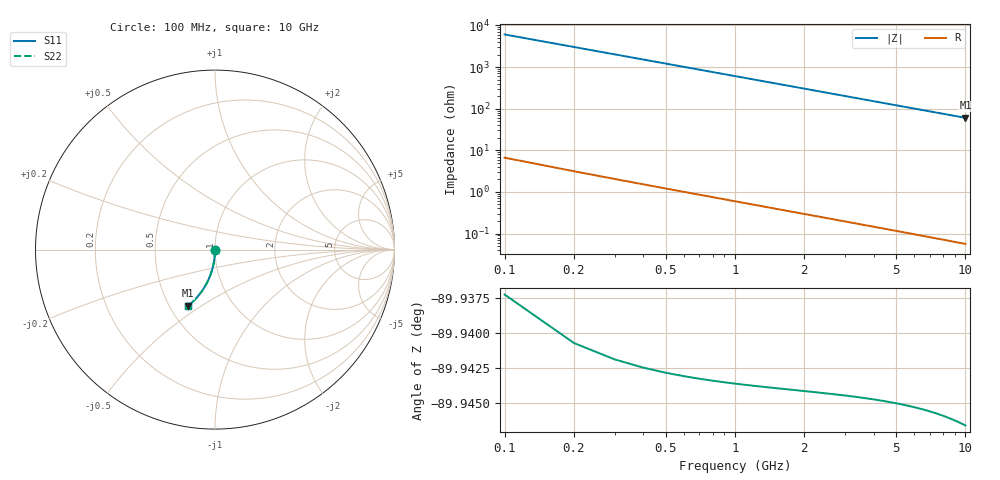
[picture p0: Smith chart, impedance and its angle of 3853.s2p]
# Hz S RI R 50.00
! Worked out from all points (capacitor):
!   100 points, 100 MHz to 10 GHz, reference 50 ohm
!   read as one part in shunt: C = 263 fF near 100 MHz
!   lowest |Z| = 60.4 ohm at 10 GHz (marker M1)
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1e8  8.84e-05 -0.00368  0.9999 -0.00457  0.9999 -0.00457  8.84e-05 -0.00368
2e8  3.47e-05 -0.00737  0.9998 -0.00913  0.9998 -0.00913  3.47e-05 -0.00737
3e8  -5.3e-05 -0.0111  0.9997 -0.0137  0.9997 -0.0137  -5.3e-05 -0.0111
4e8  -0.000174 -0.0147  0.9996 -0.0183  0.9996 -0.0183  -0.000174 -0.0147
5e8  -0.000329 -0.0184  0.9994 -0.0228  0.9994 -0.0228  -0.000329 -0.0184
6e8  -0.000518 -0.0221  0.9992 -0.0274  0.9992 -0.0274  -0.000518 -0.0221
7e8  -0.000741 -0.0258  0.999 -0.032  0.999 -0.032  -0.000741 -0.0258
8e8  -0.000997 -0.0295  0.9988 -0.0365  0.9988 -0.0365  -0.000997 -0.0295
9e8  -0.00129 -0.0331  0.9985 -0.0411  0.9985 -0.0411  -0.00129 -0.0331
1.1e9  -0.00197 -0.0405  0.9978 -0.0502  0.9978 -0.0502  -0.00197 -0.0405
1.4e9  -0.00324 -0.0515  0.9965 -0.0638  0.9965 -0.0638  -0.00324 -0.0515
1.8e9  -0.0054 -0.066  0.9942 -0.082  0.9942 -0.082  -0.0054 -0.066
2.1e9  -0.00737 -0.0769  0.9922 -0.0955  0.9922 -0.0955  -0.00737 -0.0769
2.5e9  -0.0105 -0.0913  0.9891 -0.1135  0.9891 -0.1135  -0.0105 -0.0913
2.9e9  -0.0141 -0.1056  0.9854 -0.1313  0.9854 -0.1313  -0.0141 -0.1056
3.4e9  -0.0193 -0.1232  0.98 -0.1533  0.98 -0.1533  -0.0193 -0.1232
4.2e9  -0.0293 -0.1507  0.9698 -0.188  0.9698 -0.188  -0.0293 -0.1507
5.1e9  -0.0427 -0.1805  0.956 -0.2259  0.956 -0.2259  -0.0427 -0.1805
5.9e9  -0.0566 -0.2058  0.9418 -0.2584  0.9418 -0.2584  -0.0566 -0.2058
6.7e9  -0.072 -0.2298  0.9259 -0.2897  0.9259 -0.2897  -0.072 -0.2298
8.4e9  -0.1095 -0.2759  0.8874 -0.3515  0.8874 -0.3515  -0.1095 -0.2759
1e10  -0.1493 -0.3128  0.8463 -0.4032  0.8463 -0.4032  -0.1493 -0.3128
